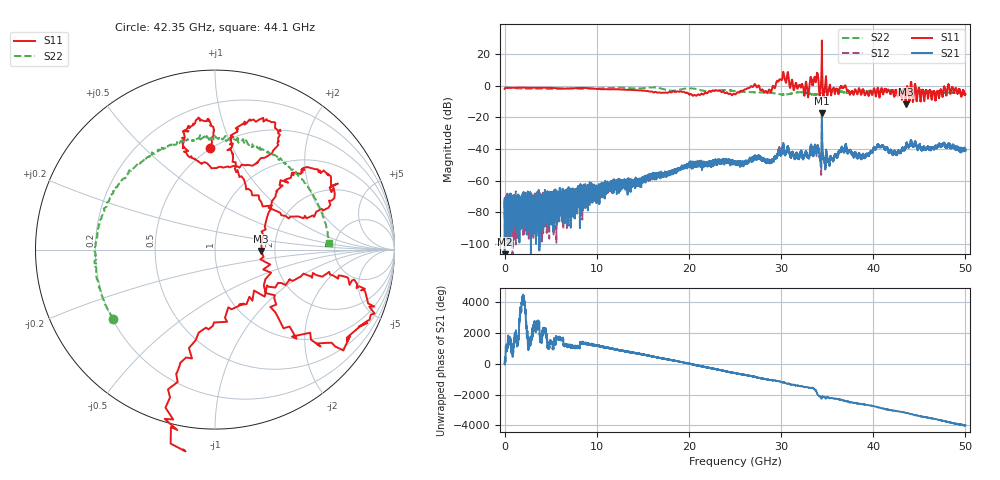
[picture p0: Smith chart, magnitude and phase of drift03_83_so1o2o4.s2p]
!Created with skrf (http://scikit-rf.org).
# Hz S RI R 50.0
!freq ReS11 ImS11 ReS21 ImS21 ReS12 ImS12 ReS22 ImS22
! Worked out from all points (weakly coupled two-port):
!   10000 points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, 5.3 MHz to 50 GHz, reference 50 ohm
!   highest |S21| = -17.40 dB at 34.43 GHz (marker M1); lowest = -108.8 dB at 5.3 MHz (marker M2)
!   lowest |S11| = -11.8 dB at 43.52 GHz (marker M3), VSWR 1.70, Z = 84.7 - j1.47 ohm
!   |S11| at or under -10 dB: 43.48307 GHz to 43.53485 GHz (51.78 MHz wide, 0.119 % of centre); 43.53548 GHz to 43.54283 GHz (7.348 MHz wide, 0.0169 % of centre); 43.89994 GHz to 43.90019 GHz (248.5 kHz wide, 0.000566 % of centre) (the widest 3 of 6)
!   |S22| runs from -5.8 to -1.1 dB; largest |S21 - S12| = 0.036
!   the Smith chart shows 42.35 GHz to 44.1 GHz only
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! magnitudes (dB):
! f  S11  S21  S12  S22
! 5.3 MHz  -2.1  -108.8  -72.9  -1.3
! 4.18 GHz  -1.4  -71.2  -72.3  -2.0
! 8.34 GHz  -1.5  -68.6  -67.7  -2.1
! 16.67 GHz  -4.4  -56.6  -56.9  -1.4
! 20.29 GHz  -5.6  -48.8  -49.0  -1.8
! 25.01 GHz  -5.5  -47.8  -48.7  -3.5
! 27.02 GHz  -0.3  -45.6  -46.0  -4.2
! 28.72 GHz  -2.5  -48.9  -47.3  -4.5
! 30.14 GHz  4.4  -40.9  -40.9  -5.7
! 32.74 GHz  2.0  -42.2  -42.1  -4.6
! 33.34 GHz  2.6  -40.2  -40.5  -5.4
! 33.82 GHz  4.0  -42.1  -42.1  -5.7
! 34.43 GHz  28.5  -17.4  -18.4  -4.5
! 35.29 GHz  0.3  -48.9  -47.1  -3.4
! 36.84 GHz  -0.8  -41.8  -41.2  -4.2
! 38.87 GHz  -2.3  -44.0  -43.8  -3.2
! 40.6 GHz  -4.6  -37.9  -38.4  -4.0
! 41.67 GHz  -2.9  -41.5  -42.1  -3.4
! 43.52 GHz  -11.8  -39.0  -38.6  -3.9
! 46.95 GHz  -3.6  -38.6  -38.5  -4.7
! 48.33 GHz  -4.6  -38.1  -38.5  -4.4
! 50 GHz  -5.2  -40.5  -40.5  -4.5
